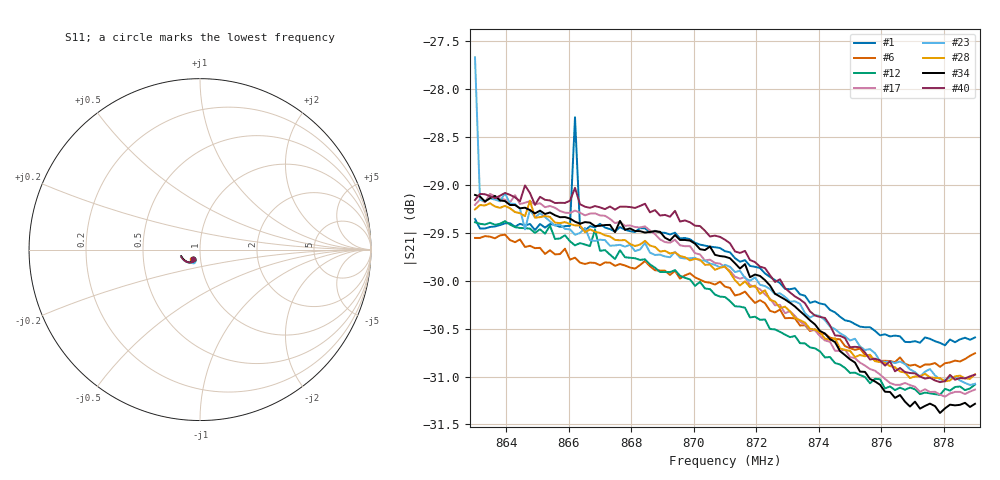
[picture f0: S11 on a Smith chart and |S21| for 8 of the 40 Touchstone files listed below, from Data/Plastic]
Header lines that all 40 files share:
# HZ S RI R 50
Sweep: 863 MHz to 879 MHz
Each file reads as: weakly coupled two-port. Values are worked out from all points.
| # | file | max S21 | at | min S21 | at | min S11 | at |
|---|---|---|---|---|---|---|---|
| 1 | po10s7.s2p | -28.29 dB | 866.2 MHz | -30.7 dB | 878.04 MHz | -23.9 dB | 864.92 MHz |
| 2 | po10s9.s2p | -28.99 dB | 865.88 MHz | -30.6 dB | 878.2 MHz | -24.1 dB | 865.88 MHz |
| 3 | po10s10.s2p | -29.07 dB | 863.96 MHz | -30.8 dB | 878.36 MHz | -23.7 dB | 864.44 MHz |
| 4 | po10s12.s2p | -28.73 dB | 863.96 MHz | -31.1 dB | 877.88 MHz | -23.9 dB | 864.44 MHz |
| 5 | po10s13.s2p | -28.07 dB | 863.8 MHz | -31.0 dB | 879 MHz | -23.8 dB | 865.24 MHz |
| 6 | po11s0.s2p | -29.52 dB | 863.96 MHz | -30.9 dB | 877.24 MHz | -23.7 dB | 864.44 MHz |
| 7 | po11s2.s2p | -29.34 dB | 863.64 MHz | -31.4 dB | 877.56 MHz | -23.5 dB | 864.92 MHz |
| 8 | po11s4.s2p | -29.45 dB | 863.16 MHz | -31.4 dB | 878.04 MHz | -23.4 dB | 864.44 MHz |
| 9 | po11s5.s2p | -29.56 dB | 863 MHz | -31.3 dB | 877.24 MHz | -23.6 dB | 865.4 MHz |
| 10 | po11s8.s2p | -29.03 dB | 863 MHz | -31.4 dB | 877.88 MHz | -23.6 dB | 864.44 MHz |
| 11 | po11s10.s2p | -29.07 dB | 863.16 MHz | -31.2 dB | 877.24 MHz | -24.0 dB | 863.16 MHz |
| 12 | po12s1.s2p | -29.38 dB | 863.96 MHz | -31.2 dB | 877.88 MHz | -23.6 dB | 864.44 MHz |
| 13 | po12s3.s2p | -28.52 dB | 865.56 MHz | -31.0 dB | 877.88 MHz | -23.5 dB | 864.92 MHz |
| 14 | po12s5.s2p | -29.07 dB | 863.96 MHz | -31.2 dB | 877.88 MHz | -23.8 dB | 863.96 MHz |
| 15 | po12s6.s2p | -29.14 dB | 863 MHz | -31.2 dB | 878.36 MHz | -23.7 dB | 864.44 MHz |
| 16 | po12s9.s2p | -29.23 dB | 863.96 MHz | -31.2 dB | 878.04 MHz | -23.5 dB | 864.44 MHz |
| 17 | po13s1.s2p | -29.09 dB | 863.48 MHz | -31.2 dB | 878.04 MHz | -23.6 dB | 865.24 MHz |
| 18 | po13s2.s2p | -29.34 dB | 863.64 MHz | -31.4 dB | 879 MHz | -23.6 dB | 864.92 MHz |
| 19 | po13s3.s2p | -29.03 dB | 864.44 MHz | -31.2 dB | 878.04 MHz | -23.7 dB | 864.44 MHz |
| 20 | po13s4.s2p | -29.30 dB | 864.76 MHz | -31.0 dB | 877.88 MHz | -23.8 dB | 864.76 MHz |
| 21 | po13s5.s2p | -29.18 dB | 865.4 MHz | -31.3 dB | 877.88 MHz | -23.5 dB | 864.44 MHz |
| 22 | po13s6.s2p | -29.05 dB | 863.64 MHz | -31.1 dB | 877.72 MHz | -24.1 dB | 864.44 MHz |
| 23 | po13s7.s2p | -27.67 dB | 863 MHz | -31.1 dB | 878.84 MHz | -23.7 dB | 863.96 MHz |
| 24 | po13s8.s2p | -29.21 dB | 863.16 MHz | -31.2 dB | 877.88 MHz | -23.9 dB | 864.44 MHz |
| 25 | po14s0.s2p | -28.47 dB | 866.52 MHz | -31.3 dB | 878.04 MHz | -23.5 dB | 864.12 MHz |
| 26 | po14s2.s2p | -29.00 dB | 863 MHz | -31.3 dB | 877.88 MHz | -23.5 dB | 865.24 MHz |
| 27 | po14s4.s2p | -29.29 dB | 863 MHz | -31.3 dB | 878.84 MHz | -23.6 dB | 864.44 MHz |
| 28 | po14s5.s2p | -29.16 dB | 864.76 MHz | -31.0 dB | 878.04 MHz | -23.8 dB | 864.76 MHz |
| 29 | po14s6.s2p | -29.12 dB | 865.08 MHz | -31.1 dB | 877.88 MHz | -24.1 dB | 865.08 MHz |
| 30 | po14s7.s2p | -29.25 dB | 863.96 MHz | -31.1 dB | 877.72 MHz | -23.5 dB | 865.56 MHz |
| 31 | po14s8.s2p | -29.24 dB | 863.16 MHz | -31.3 dB | 878.52 MHz | -24.1 dB | 866.04 MHz |
| 32 | po14s9.s2p | -29.23 dB | 866.52 MHz | -31.4 dB | 877.24 MHz | -23.8 dB | 864.44 MHz |
| 33 | po14s10.s2p | -29.21 dB | 863.96 MHz | -31.2 dB | 877.24 MHz | -23.8 dB | 865.24 MHz |
| 34 | po15s0.s2p | -29.10 dB | 863 MHz | -31.4 dB | 877.88 MHz | -23.8 dB | 864.12 MHz |
| 35 | po15s1.s2p | -28.08 dB | 863.32 MHz | -31.2 dB | 877.88 MHz | -23.7 dB | 866.52 MHz |
| 36 | po15s2.s2p | -29.73 dB | 863.32 MHz | -31.5 dB | 876.76 MHz | -23.7 dB | 865.56 MHz |
| 37 | po15s4.s2p | -28.91 dB | 868.44 MHz | -31.3 dB | 878.04 MHz | -23.6 dB | 865.08 MHz |
| 38 | po15s5.s2p | -29.11 dB | 863.16 MHz | -31.7 dB | 877.24 MHz | -23.6 dB | 864.44 MHz |
| 39 | po15s6.s2p | -28.92 dB | 863.96 MHz | -31.5 dB | 877.88 MHz | -23.7 dB | 865.24 MHz |
| 40 | po15s8.s2p | -29.00 dB | 864.6 MHz | -31.1 dB | 877.88 MHz | -23.7 dB | 865.24 MHz |
